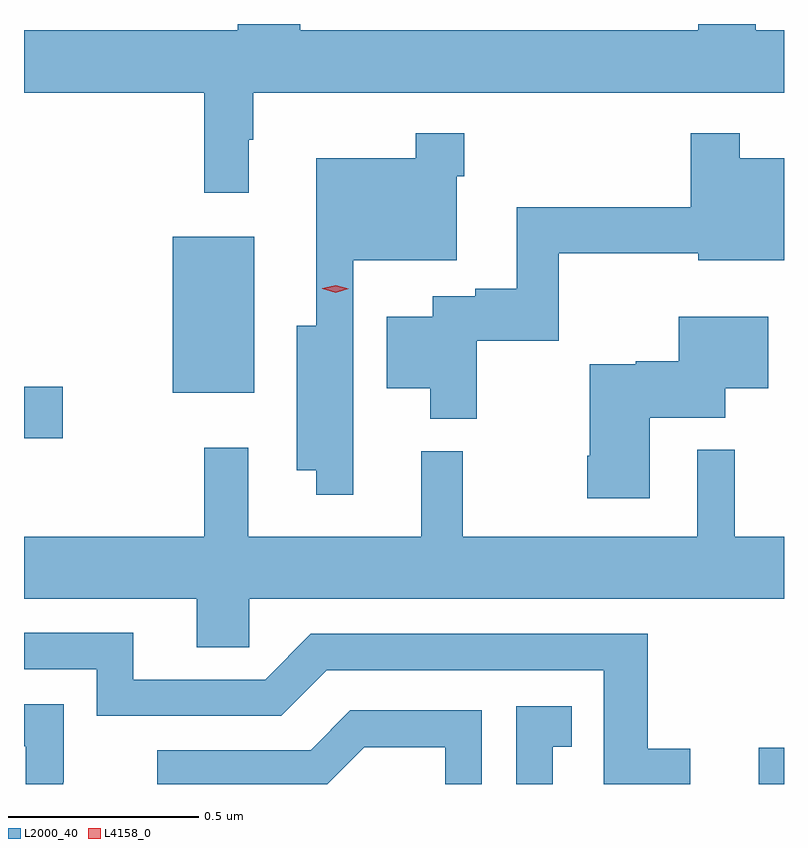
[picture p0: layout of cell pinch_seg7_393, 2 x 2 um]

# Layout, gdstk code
import gdstk
lib = gdstk.Library(unit=1e-6, precision=1e-09)
def R(c, l, rs):  # rectangles x0, y0, x1, y1
    for r in rs: c.add(gdstk.rectangle(r[:2], r[2:], *l))
def P(c, l, *ps):  # polygons
    for p in ps: c.add(gdstk.Polygon(p, *l))
L2000_40 = (2000, 40)
L4158_0 = (4158, 0)

pinch_seg7_393 = lib.new_cell('pinch_seg7_393')
R(pinch_seg7_393, L2000_40, [(437.96,1016.113,438.027,1016.209), (436.027,1017.023,436.129,1017.158), (436.418,1017.143,436.633,1017.553)])
P(pinch_seg7_393, L2000_40, [(436.618,1017.809),(436.63,1017.809),(436.63,1017.932),(438.027,1017.932),(438.027,1018.096),(437.953,1018.096),(437.953,1018.113),(437.801,1018.113),(437.801,1018.096),(436.754,1018.096),(436.754,1018.113),(436.589,1018.113),(436.589,1018.096),(436.027,1018.096),(436.027,1017.932),(436.501,1017.932),(436.501,1017.669),(436.618,1017.669)],
  [(436.893,1017.491),(437.166,1017.491),(437.166,1017.713),(437.186,1017.713),(437.186,1017.826),(437.058,1017.826),(437.058,1017.76),(436.796,1017.76),(436.796,1017.319),(436.745,1017.319),(436.745,1016.939),(436.796,1016.939),(436.796,1016.874),(436.893,1016.874)],
  [(437.218,1017.28),(437.434,1017.28),(437.434,1017.51),(437.801,1017.51),(437.801,1017.491),(438.027,1017.491),(438.027,1017.76),(437.911,1017.76),(437.911,1017.826),(437.782,1017.826),(437.782,1017.631),(437.324,1017.631),(437.324,1017.416),(437.214,1017.416),(437.214,1017.396),(437.102,1017.396),(437.102,1017.343),(436.982,1017.343),(436.982,1017.155),(437.096,1017.155),(437.096,1017.074),(437.218,1017.074)],
  [(437.674,1017.077),(437.872,1017.077),(437.872,1017.155),(437.986,1017.155),(437.986,1017.343),(437.75,1017.343),(437.75,1017.225),(437.637,1017.225),(437.637,1017.217),(437.516,1017.217),(437.516,1016.977),(437.509,1016.977),(437.509,1016.865),(437.674,1016.865)],
  [(436.62,1016.6),(438.027,1016.6),(438.027,1016.764),(437.897,1016.764),(437.897,1016.992),(437.799,1016.992),(437.799,1016.764),(437.182,1016.764),(437.182,1016.989),(437.072,1016.989),(437.072,1016.764),(436.617,1016.764),(436.617,1016.998),(436.501,1016.998),(436.501,1016.764),(436.027,1016.764),(436.027,1016.6),(436.481,1016.6),(436.481,1016.473),(436.62,1016.473)],
  [(437.78,1016.206),(437.669,1016.206),(437.669,1016.508),(436.782,1016.508),(436.662,1016.388),(436.315,1016.388),(436.315,1016.511),(436.027,1016.511),(436.027,1016.415),(436.218,1016.415),(436.218,1016.292),(436.704,1016.292),(436.824,1016.412),(437.553,1016.412),(437.553,1016.113),(437.78,1016.113)],
  [(436.13,1016.117),(436.131,1016.117),(436.131,1016.323),(436.027,1016.323),(436.027,1016.213),(436.031,1016.213),(436.031,1016.113),(436.13,1016.113)],
  [(437.419,1016.211),(437.468,1016.211),(437.468,1016.317),(437.322,1016.317),(437.322,1016.113),(437.419,1016.113)],
  [(436.922,1016.21),(437.136,1016.21),(437.136,1016.113),(437.232,1016.113),(437.232,1016.307),(436.886,1016.307),(436.781,1016.202),(436.378,1016.202),(436.378,1016.113),(436.825,1016.113)])
P(pinch_seg7_393, L4158_0, [(436.847,1017.406),(436.812,1017.416),(436.812,1017.416),(436.812,1017.417),(436.847,1017.426),(436.881,1017.416),(436.881,1017.416),(436.881,1017.416)])

lib.write_gds('pinch_seg7_393.gds')
